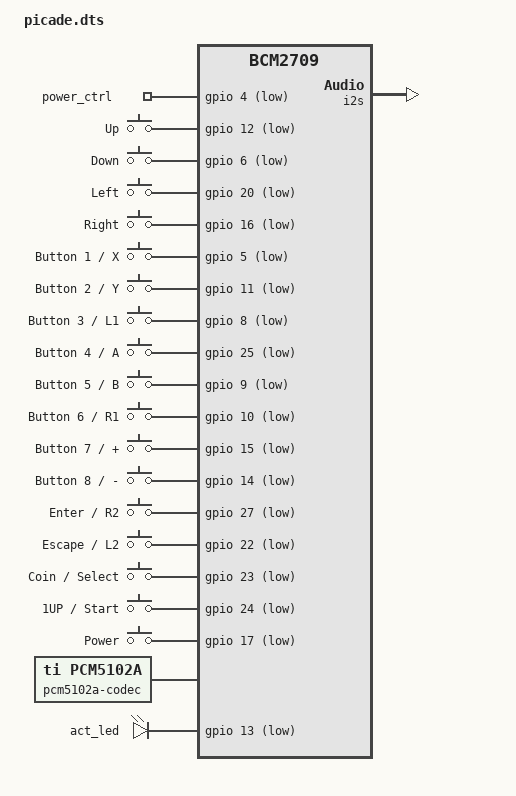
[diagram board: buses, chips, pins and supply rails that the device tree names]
/dts-v1/;
/plugin/;

/ {
	compatible = "brcm,bcm2835", "brcm,bcm2708", "brcm,bcm2709";

	fragment@0 {
		target = <&gpio>;
		__overlay__ {
			picade_pins: picade_pins {
				brcm,pins = <5 6 8 9 10 11 12 14 15 16 20 22 23 24 25 27>;
				brcm,function = <0>;
				brcm,pull = <2>;
			};
			power_ctrl_pins: power_ctrl_pins {
				brcm,pins = <4>;
				brcm,function = <1>;
			};
			shutdown_button_pins: shutdown_button_pins {
				brcm,pins = <17>;
				brcm,function = <0>;
			};
		};
	};
	
	fragment@1 {
		target-path = "/";
		__overlay__ {
			power_ctrl: power_ctrl {
				compatible = "gpio-poweroff";
				gpios = <&gpio 4 1>;
				force;
			};
		};
	};

	fragment@2 {
		target-path = "/";
		__overlay__ {
			gpio_keys: gpio_keys {
				compatible = "gpio-keys";
				pinctrl-names = "default";
				pinctrl-0 = <&picade_pins>;
				status = "okay";

				up: up {
					label = "Up";
					linux,code = <103>;
					gpios = <&gpio 12 1>; 
				};

				down: down {
					label = "Down";
					linux,code = <108>;
					gpios = <&gpio 6 1>;
				};

				left: left {
					label = "Left";
					linux,code = <105>;
					gpios = <&gpio 20 1>;
				};

				right: right {
					label = "Right";
					linux,code = <106>;
					gpios = <&gpio 16 1>;
				};

				button1: button1 {
					label = "Button 1 / X";
					linux,code = <0x133>;
					gpios = <&gpio 5 1>;
				};

				button2: button2 {
					label = "Button 2 / Y";
					linux,code = <0x134>;
					gpios = <&gpio 11 1>;
				};

				button3: button3 {
					label = "Button 3 / L1";
					linux,code = <0x136>;
					gpios = <&gpio 8 1>;
				};

				button4: button4 {
					label = "Button 4 / A";
					linux,code = <0x130>;
					gpios = <&gpio 25 1>;
				};

				button5: button5 {
					label = "Button 5 / B";
					linux,code = <0x131>;
					gpios = <&gpio 9 1>;
				};

				button6: button6 {
					label = "Button 6 / R1";
					linux,code = <0x137>;
					gpios = <&gpio 10 1>;
				};

				button7: button7 {
					label = "Button 7 / +";
					linux,code = <78>;
					gpios = <&gpio 15 1>;
				};

				button8: button8 {
					label = "Button 8 / -";
					linux,code = <74>;
					gpios = <&gpio 14 1>;
				};

				enter: enter {
					label = "Enter / R2";
					linux,code = <0x139>;
					gpios = <&gpio 27 1>;
				};

				escape: escape {
					label = "Escape / L2";
					linux,code = <0x138>;
					gpios = <&gpio 22 1>;
				};

				coin: coin {
					label = "Coin / Select";
					linux,code = <0x13b>;
					gpios = <&gpio 23 1>;
				};

				start: start {
					label = "1UP / Start";
					linux,code = <0x13a>;
					gpios = <&gpio 24 1>;
				};
			};
		};
	};

	fragment@3 {
		target = <&i2s_pins>;
		__overlay__ {
			/*
			We cannot share BCM 20 between gpio keys (Left) and i2s (PCM_DIN)
			Assign PCM_DIN to the HAT EEPROM (ID_SD) pin which should be generally unused.
			*/
			brcm,pins = <18 19 0 21>;
			brcm,function = <4 4 0 4>;
		};
	};

	fragment@4 {
		target = <&i2s>;
		__overlay__ {
			status = "okay";
		};
	};

	fragment@5 {
		target-path = "/";
		__overlay__ {
			pcm5102a-codec {
				#sound-dai-cells = <0>;
				compatible = "ti,pcm5102a";
				status = "okay";
			};
		};
	};

	fragment@6 {
		target = <&sound>;
		__overlay__ {
			compatible = "hifiberry,hifiberry-dac";
			i2s-controller = <&i2s>;
			status = "okay";
		};
	};

	fragment@7 {
		target = <&act_led>;
		__overlay__ {
			linux,default-trigger = "default-on";
			gpios = <&gpio 13 1>;
		};
	};

	fragment@8 {
		target = <&gpio_keys>;
		__overlay__ {
			power: power {
				label = "Power";
				linux,code = <116>; // KEY_POWER
				gpios = <&gpio 17 1>;
			};
		};
	};

	__overrides__ {
		up = <&up>,"linux,code:0";
		down = <&down>,"linux,code:0";
		left = <&left>,"linux,code:0";
		right = <&right>,"linux,code:0";
		button1 = <&button1>,"linux,code:0";
		button2 = <&button2>,"linux,code:0";
		button3 = <&button3>,"linux,code:0";
		button4 = <&button4>,"linux,code:0";
		button5 = <&button5>,"linux,code:0";
		button6 = <&button6>,"linux,code:0";
		button7 = <&button7>,"linux,code:0";
		button8 = <&button8>,"linux,code:0";
		enter = <&enter>,"linux,code:0";
		escape = <&escape>,"linux,code:0";
		coin = <&coin>,"linux,code:0";
		start = <&start>,"linux,code:0";
		led-trigger = <&act_led>,"linux,default-trigger";
		noaudio = <0>,"-3-4-5-6";
		noactled = <0>,"-7";
		nopowerbtn = <0>,"-8";
		nopoweroff = <0>,"-1";
	};
};
